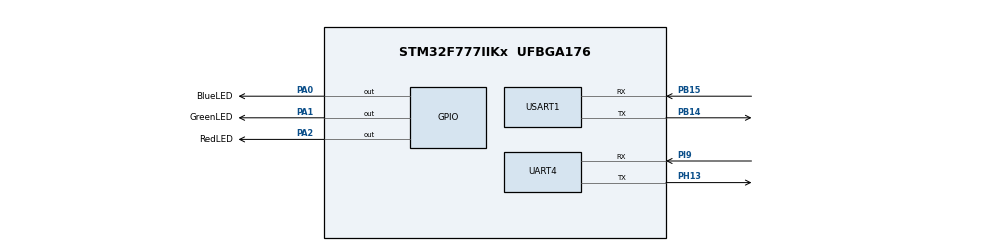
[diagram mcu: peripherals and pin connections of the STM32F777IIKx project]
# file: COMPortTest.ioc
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Mcu.Family=STM32F7
Mcu.Name=STM32F777IIKx
Mcu.Package=UFBGA176
NVIC.PriorityGroup=NVIC_PRIORITYGROUP_4
NVIC.UART4_IRQn=true\:0\:0\:false\:false\:true\:true\:true
NVIC.USART1_IRQn=true\:0\:0\:false\:false\:true\:true\:true
PA0/WKUP.GPIO_Label=BlueLED
PA0/WKUP.Signal=GPIO_Output
PA1.GPIO_Label=GreenLED
PA1.Signal=GPIO_Output
PA2.GPIO_Label=RedLED
PA2.Signal=GPIO_Output
PB14.Mode=Asynchronous
PB14.Signal=USART1_TX
PB15.Mode=Asynchronous
PB15.Signal=USART1_RX
PH13.Mode=Asynchronous
PH13.Signal=UART4_TX
PI9.Mode=Asynchronous
PI9.Signal=UART4_RX
ProjectManager.HeapSize=0x200
ProjectManager.StackSize=0x400
ProjectManager.TargetToolchain=STM32CubeIDE
RCC.HSE_VALUE=25000000
RCC.HSI_VALUE=16000000
RCC.LSE_VALUE=32768
RCC.USBFreq_Value=96000000
RCC.VCOOutputFreq_Value=192000000
USART1.VirtualMode-Asynchronous=VM_ASYNC
board=custom

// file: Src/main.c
/* USER CODE BEGIN Header */
/**
  ******************************************************************************
  * @file           : main.c
  * @brief          : Main program body
  ******************************************************************************
  ** This notice applies to any and all portions of this file
  * that are not between comment pairs USER CODE BEGIN and
  * USER CODE END. Other portions of this file, whether
  * inserted by the user or by software development tools
  * are owned by their respective copyright owners.
  *
  * COPYRIGHT(c) 2019 STMicroelectronics
  *
  * Redistribution and use in source and binary forms, with or without modification,
  * are permitted provided that the following conditions are met:
  *   1. Redistributions of source code must retain the above copyright notice,
  *      this list of conditions and the following disclaimer.
  *   2. Redistributions in binary form must reproduce the above copyright notice,
  *      this list of conditions and the following disclaimer in the documentation
  *      and/or other materials provided with the distribution.
  *   3. Neither the name of STMicroelectronics nor the names of its contributors
  *      may be used to endorse or promote products derived from this software
  *      without specific prior written permission.
  *
  * THIS SOFTWARE IS PROVIDED BY THE COPYRIGHT HOLDERS AND CONTRIBUTORS "AS IS"
  * AND ANY EXPRESS OR IMPLIED WARRANTIES, INCLUDING, BUT NOT LIMITED TO, THE
  * IMPLIED WARRANTIES OF MERCHANTABILITY AND FITNESS FOR A PARTICULAR PURPOSE ARE
  * DISCLAIMED. IN NO EVENT SHALL THE COPYRIGHT HOLDER OR CONTRIBUTORS BE LIABLE
  * FOR ANY DIRECT, INDIRECT, INCIDENTAL, SPECIAL, EXEMPLARY, OR CONSEQUENTIAL
  * DAMAGES (INCLUDING, BUT NOT LIMITED TO, PROCUREMENT OF SUBSTITUTE GOODS OR
  * SERVICES; LOSS OF USE, DATA, OR PROFITS; OR BUSINESS INTERRUPTION) HOWEVER
  * CAUSED AND ON ANY THEORY OF LIABILITY, WHETHER IN CONTRACT, STRICT LIABILITY,
  * OR TORT (INCLUDING NEGLIGENCE OR OTHERWISE) ARISING IN ANY WAY OUT OF THE USE
  * OF THIS SOFTWARE, EVEN IF ADVISED OF THE POSSIBILITY OF SUCH DAMAGE.
  *
  ******************************************************************************
  */
/* USER CODE END Header */

#include "main.h"
#include "usart.h"
#include "gpio.h"

/* USER CODE BEGIN Includes */

#include <string.h>
#include <stdio.h>

/* USER CODE END Includes */

void SystemClock_Config(void);

/* USER CODE BEGIN 0 */

/*
 *    Hold the data generated by the interrupt.
 */
char _rxData[2];

/*
 *    Hold the accumulated data incoming from the UART.
 */
#define RX_BUFFER_CAPACITY 1000
char _rxBuffer[RX_BUFFER_CAPACITY];

#define INCOMING_UART   huart1
#define OUTGOING_UART   huart4

#define PROMPT          "Enter some text: "

/*
 *    Location of the next character in the accumulated buffer.
 */
uint8_t _rxIndex = 0;

void HAL_UART_RxCpltCallback(UART_HandleTypeDef *huart)
{
  if (huart->Instance == INCOMING_UART.Instance)
  {
    if (_rxIndex < RX_BUFFER_CAPACITY)
    {
      _rxBuffer[_rxIndex++] = _rxData[0];
    }
    HAL_UART_Receive_IT(&INCOMING_UART, (uint8_t *)_rxData, 1);
  }
}

/* USER CODE END 0 */

int main(void)
{
  /* USER CODE BEGIN 1 */

  for (int index = 0; index < RX_BUFFER_CAPACITY; index++)
  {
    _rxBuffer[index] = 0;
  }
  _rxIndex = 0;
  /* USER CODE END 1 */

  /* MCU Configuration--------------------------------------------------------*/

  /* Reset of all peripherals, Initializes the Flash interface and the Systick. */
  HAL_Init();

  /* Configure the system clock */
  SystemClock_Config();

  /* Initialize all configured peripherals */
  MX_GPIO_Init();
  MX_USART1_UART_Init();
  MX_UART4_Init();

  /* Infinite loop */
  /* USER CODE BEGIN WHILE */

    HAL_GPIO_WritePin(RedLED_GPIO_Port, RedLED_Pin, GPIO_PIN_SET);
    HAL_GPIO_WritePin(GreenLED_GPIO_Port, GreenLED_Pin, GPIO_PIN_SET);
    HAL_GPIO_WritePin(BlueLED_GPIO_Port, BlueLED_Pin, GPIO_PIN_SET);

    HAL_UART_Transmit(&INCOMING_UART, (uint8_t *) PROMPT, strlen(PROMPT), HAL_MAX_DELAY);
    HAL_UART_Receive_IT(&INCOMING_UART, (uint8_t *)_rxData, 1);

    while (1)
    {
      int sizeOfBuffer = _rxIndex;
      if (sizeOfBuffer > 0)
      {
        uint8_t copyOfBuffer[RX_BUFFER_CAPACITY];
        memcpy(copyOfBuffer, _rxBuffer, _rxIndex);
        _rxIndex = 0;
        HAL_UART_Transmit(&OUTGOING_UART, (uint8_t *) copyOfBuffer, sizeOfBuffer, HAL_MAX_DELAY);
      }
      // HAL_UART_Transmit(&huart1, (uint8_t *) receiveBuffer, strlen(receiveBuffer), HAL_MAX_DELAY);
      // HAL_GPIO_TogglePin(RedLED_GPIO_Port, RedLED_Pin);
      // HAL_GPIO_TogglePin(BlueLED_GPIO_Port, BlueLED_Pin);
      // HAL_Delay(500);
    /* USER CODE END WHILE */

    }
}

void SystemClock_Config(void)
{
  RCC_OscInitTypeDef RCC_OscInitStruct = {0};
  RCC_ClkInitTypeDef RCC_ClkInitStruct = {0};
  RCC_PeriphCLKInitTypeDef PeriphClkInitStruct = {0};

  /** Configure the main internal regulator output voltage
  */
  __HAL_RCC_PWR_CLK_ENABLE();
  __HAL_PWR_VOLTAGESCALING_CONFIG(PWR_REGULATOR_VOLTAGE_SCALE3);
  /** Initializes the CPU, AHB and APB busses clocks
  */
  RCC_OscInitStruct.OscillatorType = RCC_OSCILLATORTYPE_HSI;
  RCC_OscInitStruct.HSIState = RCC_HSI_ON;
  RCC_OscInitStruct.HSICalibrationValue = RCC_HSICALIBRATION_DEFAULT;
  RCC_OscInitStruct.PLL.PLLState = RCC_PLL_NONE;
  if (HAL_RCC_OscConfig(&RCC_OscInitStruct) != HAL_OK)
  {
    Error_Handler();
  }
  /** Initializes the CPU, AHB and APB busses clocks
  */
  RCC_ClkInitStruct.ClockType = RCC_CLOCKTYPE_HCLK|RCC_CLOCKTYPE_SYSCLK
                              |RCC_CLOCKTYPE_PCLK1|RCC_CLOCKTYPE_PCLK2;
  RCC_ClkInitStruct.SYSCLKSource = RCC_SYSCLKSOURCE_HSI;
  RCC_ClkInitStruct.AHBCLKDivider = RCC_SYSCLK_DIV1;
  RCC_ClkInitStruct.APB1CLKDivider = RCC_HCLK_DIV1;
  RCC_ClkInitStruct.APB2CLKDivider = RCC_HCLK_DIV1;

  if (HAL_RCC_ClockConfig(&RCC_ClkInitStruct, FLASH_LATENCY_0) != HAL_OK)
  {
    Error_Handler();
  }
  PeriphClkInitStruct.PeriphClockSelection = RCC_PERIPHCLK_USART1|RCC_PERIPHCLK_UART4;
  PeriphClkInitStruct.Usart1ClockSelection = RCC_USART1CLKSOURCE_PCLK2;
  PeriphClkInitStruct.Uart4ClockSelection = RCC_UART4CLKSOURCE_PCLK1;
  if (HAL_RCCEx_PeriphCLKConfig(&PeriphClkInitStruct) != HAL_OK)
  {
    Error_Handler();
  }
}

void Error_Handler(void)
{
}

/************************ (C) COPYRIGHT STMicroelectronics *****END OF FILE****/
